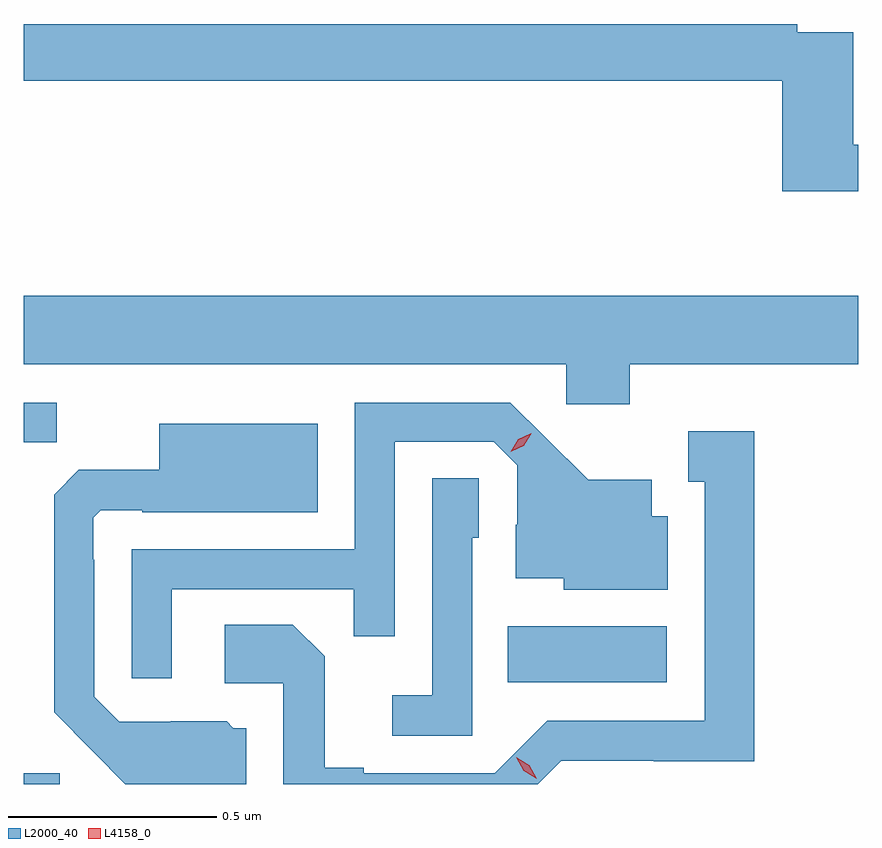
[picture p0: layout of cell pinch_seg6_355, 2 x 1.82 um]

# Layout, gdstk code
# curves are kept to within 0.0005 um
import gdstk
lib = gdstk.Library(unit=1e-6, precision=1e-09)
def R(c, l, rs):  # rectangles x0, y0, x1, y1
    for r in rs: c.add(gdstk.rectangle(r[:2], r[2:], *l))
def P(c, l, *ps):  # polygons
    for p in ps: c.add(gdstk.Polygon(p, *l))
L2000_40 = (2000, 40)
L4158_0 = (4158, 0)

pinch_seg6_355 = lib.new_cell('pinch_seg6_355')
R(pinch_seg6_355, L2000_40, [(743.156,944.998,743.242,945.024), (744.316,945.242,744.697,945.376), (743.156,945.817,743.235,945.912)])
P(pinch_seg6_355, L2000_40, [(745.156,946.531),(745.144,946.531),(745.144,946.8),(745.01,946.8),(745.01,946.82),(743.156,946.82),(743.156,946.684),(744.974,946.684),(744.974,946.419),(745.156,946.419)],
  [(744.608,946.004),(745.156,946.004),(745.156,946.168),(743.156,946.168),(743.156,946.004),(744.456,946.004),(744.456,945.909),(744.608,945.909)],
  [(743.511,945.465),(743.947,945.465),(743.947,945.352),(744.045,945.352),(744.045,945.819),(744.282,945.819),(744.339,945.762),(744.339,945.62),(744.335,945.62),(744.335,945.491),(744.45,945.491),(744.45,945.464),(744.7,945.464),(744.7,945.64),(744.661,945.64),(744.661,945.727),(744.509,945.727),(744.322,945.912),(743.949,945.912),(743.949,945.561),(743.415,945.561),(743.415,945.252),(743.511,945.252)],
  [(743.689,945.132),(743.658,945.132),(743.642,945.148),(743.508,945.148),(743.508,945.147),(743.385,945.147),(743.325,945.207),(743.325,945.536),(743.322,945.536),(743.322,945.636),(743.34,945.654),(743.44,945.654),(743.44,945.65),(743.86,945.65),(743.86,945.862),(743.48,945.862),(743.48,945.751),(743.288,945.751),(743.229,945.692),(743.229,945.17),(743.399,944.998),(743.689,944.998)],
  [(744.444,945.054),(744.666,945.054),(744.666,945.053),(744.907,945.053),(744.907,945.844),(744.749,945.844),(744.749,945.723),(744.788,945.723),(744.788,945.15),(744.411,945.15),(744.285,945.024),(743.971,945.024),(743.971,945.037),(743.877,945.037),(743.877,945.304),(743.801,945.38),(743.637,945.38),(743.637,945.24),(743.778,945.24),(743.778,944.998),(744.388,944.998)],
  [(744.231,945.588),(744.246,945.588),(744.246,945.731),(744.135,945.731),(744.135,945.211),(744.039,945.211),(744.039,945.114),(744.231,945.114)])
P(pinch_seg6_355, L4158_0, [(744.385,945.01),(744.354,945.03),(744.337,945.062),(744.337,945.062),(744.337,945.062),(744.368,945.043),(744.386,945.011),(744.386,945.01)],
  [(744.323,945.794),(744.323,945.794),(744.341,945.824),(744.372,945.839),(744.372,945.839),(744.372,945.838),(744.354,945.809),(744.323,945.794)])

lib.write_gds('pinch_seg6_355.gds')
